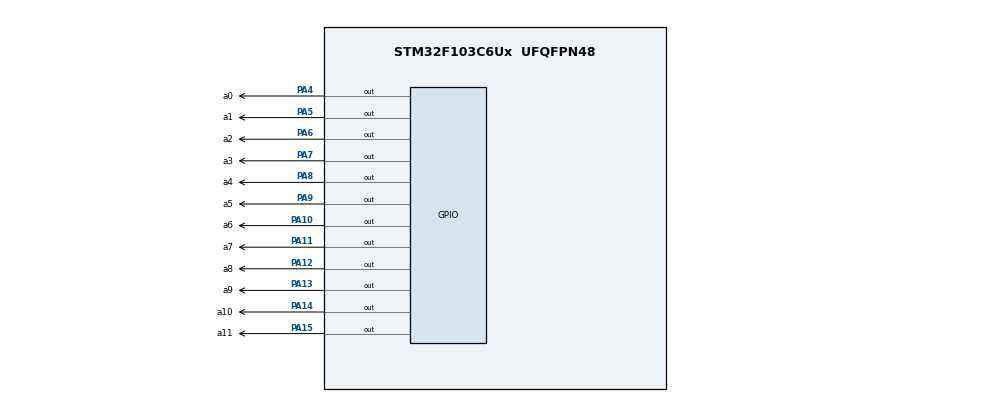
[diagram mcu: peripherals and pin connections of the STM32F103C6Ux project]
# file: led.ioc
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Mcu.Family=STM32F1
Mcu.Name=STM32F103C6Ux
Mcu.Package=UFQFPN48
NVIC.PriorityGroup=NVIC_PRIORITYGROUP_4
PA10.GPIO_Label=a6
PA10.Signal=GPIO_Output
PA11.GPIO_Label=a7
PA11.Signal=GPIO_Output
PA12.GPIO_Label=a8
PA12.Signal=GPIO_Output
PA13.GPIO_Label=a9
PA13.Signal=GPIO_Output
PA14.GPIO_Label=a10
PA14.Signal=GPIO_Output
PA15.GPIO_Label=a11
PA15.Signal=GPIO_Output
PA4.GPIO_Label=a0
PA4.Signal=GPIO_Output
PA5.GPIO_Label=a1
PA5.Signal=GPIO_Output
PA6.GPIO_Label=a2
PA6.Signal=GPIO_Output
PA7.GPIO_Label=a3
PA7.Signal=GPIO_Output
PA8.GPIO_Label=a4
PA8.Signal=GPIO_Output
PA9.GPIO_Label=a5
PA9.Signal=GPIO_Output
ProjectManager.HeapSize=0x200
ProjectManager.StackSize=0x400
ProjectManager.TargetToolchain=STM32CubeIDE
RCC.APB1Freq_Value=8000000
RCC.APB2Freq_Value=8000000
VP_SYS_VS_ND.Mode=No_Debug
board=custom

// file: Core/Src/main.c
/* USER CODE BEGIN Header */
/**
  ******************************************************************************
  * @file           : main.c
  * @brief          : Main program body
  ******************************************************************************
  * @attention
  *
  * <h2><center>&copy; Copyright (c) 2025 STMicroelectronics.
  * All rights reserved.</center></h2>
  *
  * This software component is licensed by ST under BSD 3-Clause license,
  * the "License"; You may not use this file except in compliance with the
  * License. You may obtain a copy of the License at:
  *                        opensource.org/licenses/BSD-3-Clause
  *
  ******************************************************************************
  */
/* USER CODE END Header */
#include "main.h"

void SystemClock_Config(void);
static void MX_GPIO_Init(void);

int main(void)
{

  /* MCU Configuration--------------------------------------------------------*/

  /* Reset of all peripherals, Initializes the Flash interface and the Systick. */
  HAL_Init();

  /* Configure the system clock */
  SystemClock_Config();

  /* Initialize all configured peripherals */
  MX_GPIO_Init();

  /* Infinite loop */
  /* USER CODE BEGIN WHILE */
 void clearAllClock(){
      HAL_GPIO_WritePin(a0_GPIO_Port, a0_Pin, RESET);
      HAL_GPIO_WritePin(a1_GPIO_Port, a1_Pin, RESET);
      HAL_GPIO_WritePin(a2_GPIO_Port, a2_Pin, RESET);
      HAL_GPIO_WritePin(a3_GPIO_Port, a3_Pin, RESET);
      HAL_GPIO_WritePin(a4_GPIO_Port, a4_Pin, RESET);
      HAL_GPIO_WritePin(a5_GPIO_Port, a5_Pin, RESET);
      HAL_GPIO_WritePin(a6_GPIO_Port, a6_Pin, RESET);
      HAL_GPIO_WritePin(a7_GPIO_Port, a7_Pin, RESET);
      HAL_GPIO_WritePin(a8_GPIO_Port, a8_Pin, RESET);
      HAL_GPIO_WritePin(a9_GPIO_Port, a9_Pin, RESET);
      HAL_GPIO_WritePin(a10_GPIO_Port, a10_Pin, RESET);
      HAL_GPIO_WritePin(a11_GPIO_Port, a11_Pin, RESET);
  }
  void clearNumberOnClock(int num){
      if (num < 0 || num > 11) return;
      switch(num){
          case 0:  HAL_GPIO_WritePin(a0_GPIO_Port,  a0_Pin,  RESET); break;
          case 1:  HAL_GPIO_WritePin(a1_GPIO_Port,  a1_Pin,  RESET); break;
          case 2:  HAL_GPIO_WritePin(a2_GPIO_Port,  a2_Pin,  RESET); break;
          case 3:  HAL_GPIO_WritePin(a3_GPIO_Port,  a3_Pin,  RESET); break;
          case 4:  HAL_GPIO_WritePin(a4_GPIO_Port,  a4_Pin,  RESET); break;
          case 5:  HAL_GPIO_WritePin(a5_GPIO_Port,  a5_Pin,  RESET); break;
          case 6:  HAL_GPIO_WritePin(a6_GPIO_Port,  a6_Pin,  RESET); break;
          case 7:  HAL_GPIO_WritePin(a7_GPIO_Port,  a7_Pin,  RESET); break;
          case 8:  HAL_GPIO_WritePin(a8_GPIO_Port,  a8_Pin,  RESET); break;
          case 9:  HAL_GPIO_WritePin(a9_GPIO_Port,  a9_Pin,  RESET); break;
          case 10: HAL_GPIO_WritePin(a10_GPIO_Port, a10_Pin, RESET); break;
          case 11: HAL_GPIO_WritePin(a11_GPIO_Port, a11_Pin, RESET); break;
      }
  }
  void setNumberOnClock(int num){
      if (num < 0 || num > 11) return;
      switch(num){
          case 0: HAL_GPIO_WritePin(a0_GPIO_Port, a0_Pin, SET); break;
          case 1: HAL_GPIO_WritePin(a1_GPIO_Port, a1_Pin, SET); break;
          case 2: HAL_GPIO_WritePin(a2_GPIO_Port, a2_Pin, SET); break;
          case 3: HAL_GPIO_WritePin(a3_GPIO_Port, a3_Pin, SET); break;
          case 4: HAL_GPIO_WritePin(a4_GPIO_Port, a4_Pin, SET); break;
          case 5: HAL_GPIO_WritePin(a5_GPIO_Port, a5_Pin, SET); break;
          case 6: HAL_GPIO_WritePin(a6_GPIO_Port, a6_Pin, SET); break;
          case 7: HAL_GPIO_WritePin(a7_GPIO_Port, a7_Pin, SET); break;
          case 8: HAL_GPIO_WritePin(a8_GPIO_Port, a8_Pin, SET); break;
          case 9: HAL_GPIO_WritePin(a9_GPIO_Port, a9_Pin, SET); break;
          case 10: HAL_GPIO_WritePin(a10_GPIO_Port, a10_Pin, SET); break;
          case 11: HAL_GPIO_WritePin(a11_GPIO_Port, a11_Pin, SET); break;
      }
  }
  while (1)
  {
	  for(int h=0; h<12; h++){
	          for(int m=0; m<60; m++){
	              for(int s=0; s<60; s++){
	                  clearAllClock();
	                  int hour = h % 12;
	                  int minute = m / 5;
	                  int second = s / 5;

	                  setNumberOnClock(hour);
	                  setNumberOnClock(minute);
	                  setNumberOnClock(second);

	                  HAL_Delay(1000);
	              }
	          }
	      }

    /* USER CODE END WHILE */

  }
}
void SystemClock_Config(void)
{
  RCC_OscInitTypeDef RCC_OscInitStruct = {0};
  RCC_ClkInitTypeDef RCC_ClkInitStruct = {0};

  /** Initializes the RCC Oscillators according to the specified parameters
  * in the RCC_OscInitTypeDef structure.
  */
  RCC_OscInitStruct.OscillatorType = RCC_OSCILLATORTYPE_HSI;
  RCC_OscInitStruct.HSIState = RCC_HSI_ON;
  RCC_OscInitStruct.HSICalibrationValue = RCC_HSICALIBRATION_DEFAULT;
  RCC_OscInitStruct.PLL.PLLState = RCC_PLL_NONE;
  if (HAL_RCC_OscConfig(&RCC_OscInitStruct) != HAL_OK)
  {
    Error_Handler();
  }
  /** Initializes the CPU, AHB and APB buses clocks
  */
  RCC_ClkInitStruct.ClockType = RCC_CLOCKTYPE_HCLK|RCC_CLOCKTYPE_SYSCLK
                              |RCC_CLOCKTYPE_PCLK1|RCC_CLOCKTYPE_PCLK2;
  RCC_ClkInitStruct.SYSCLKSource = RCC_SYSCLKSOURCE_HSI;
  RCC_ClkInitStruct.AHBCLKDivider = RCC_SYSCLK_DIV1;
  RCC_ClkInitStruct.APB1CLKDivider = RCC_HCLK_DIV1;
  RCC_ClkInitStruct.APB2CLKDivider = RCC_HCLK_DIV1;

  if (HAL_RCC_ClockConfig(&RCC_ClkInitStruct, FLASH_LATENCY_0) != HAL_OK)
  {
    Error_Handler();
  }
}

static void MX_GPIO_Init(void)
{
  GPIO_InitTypeDef GPIO_InitStruct = {0};

  /* GPIO Ports Clock Enable */
  __HAL_RCC_GPIOA_CLK_ENABLE();

  /*Configure GPIO pin Output Level */
  HAL_GPIO_WritePin(GPIOA, a0_Pin|a1_Pin|a2_Pin|a3_Pin
                          |a4_Pin|a5_Pin|a6_Pin|a7_Pin
                          |a8_Pin|a9_Pin|a10_Pin|a11_Pin, GPIO_PIN_RESET);

  /*Configure GPIO pins : a0_Pin a1_Pin a2_Pin a3_Pin
                           a4_Pin a5_Pin a6_Pin a7_Pin
                           a8_Pin a9_Pin a10_Pin a11_Pin */
  GPIO_InitStruct.Pin = a0_Pin|a1_Pin|a2_Pin|a3_Pin
                          |a4_Pin|a5_Pin|a6_Pin|a7_Pin
                          |a8_Pin|a9_Pin|a10_Pin|a11_Pin;
  GPIO_InitStruct.Mode = GPIO_MODE_OUTPUT_PP;
  GPIO_InitStruct.Pull = GPIO_NOPULL;
  GPIO_InitStruct.Speed = GPIO_SPEED_FREQ_LOW;
  HAL_GPIO_Init(GPIOA, &GPIO_InitStruct);

}

void Error_Handler(void)
{
  __disable_irq();
  while (1)
  {
  }
}

/************************ (C) COPYRIGHT STMicroelectronics *****END OF FILE****/
